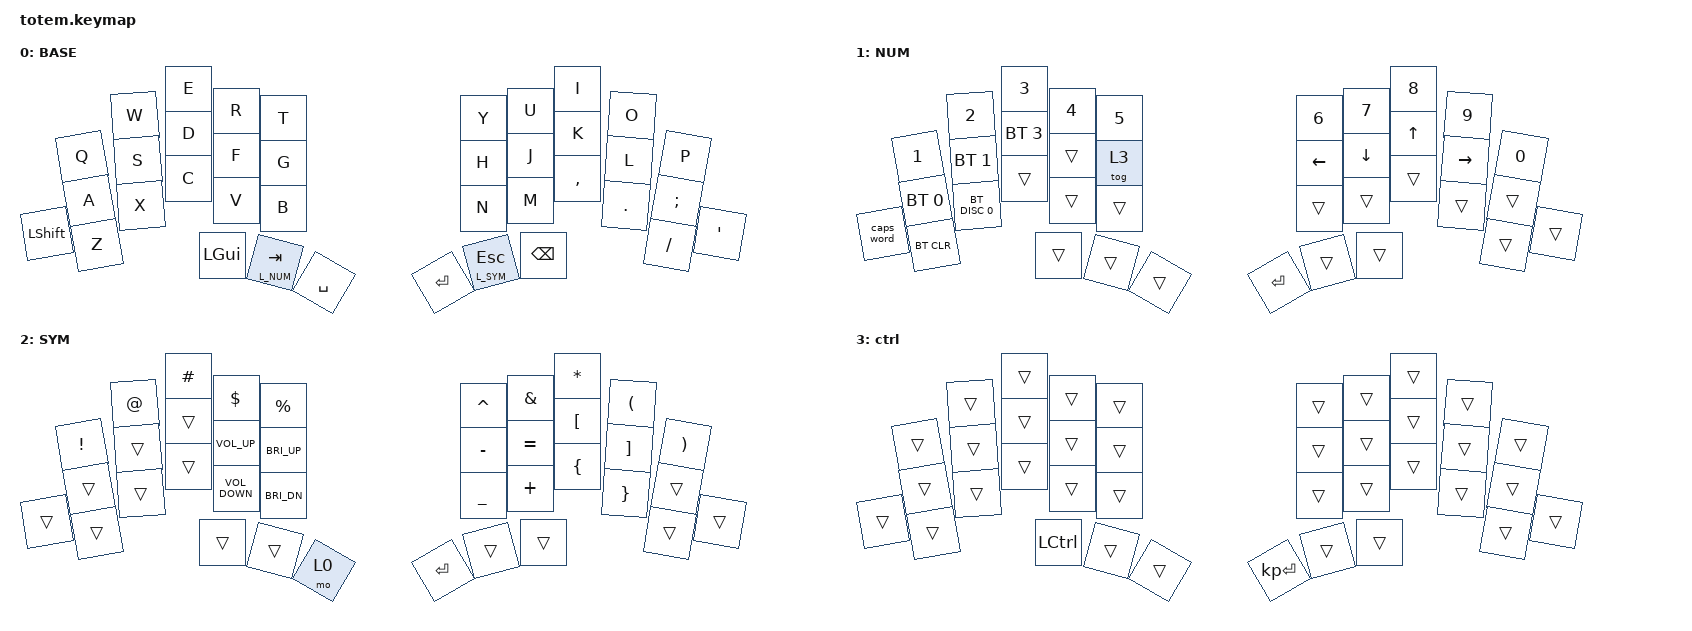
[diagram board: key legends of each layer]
//
//                                                        ▀▀▀▀▀     ▀▀▀▀▀          ▀▀█▀▀
//                                                        ▄▀▀▀▄  ▄  ▄▀▀▀▄  ▄  ▄▀▀▀▄  █  ▄▀▀▀▄
//                                                        █   █  █  █   █  █  █   █  █  █   █
//                                                         ▀▀▀   █   ▀▀▀   █   ▀▀▀   ▀   ▀▀▀
//                                                               █      ▄▄▄█▄▄▄    █   █  
//                                                               ▀      █  █  █     █▄█
//                                                             ▀▀▀▀▀    █  █  █      ▀
//                                                                      ▀  ▀  ▀
//
// ▄▄▄▄▄▄▄▄▄▄▄▄▄▄▄▄▄▄▄▄▄▄▄▄▄▄▄▄▄▄▄▄▄▄▄▄▄▄▄▄▄▄▄▄▄▄▄▄▄▄▄▄▄▄▄▄▄▄▄▄▄▄▄▄▄▄▄▄▄▄▄▄▄▄▄▄▄▄▄▄▄▄▄▄▄▄▄▄▄▄▄▄▄▄▄▄▄▄▄▄▄▄▄▄▄▄▄▄▄▄▄▄▄▄▄▄▄▄▄▄▄▄▄▄▄▄▄▄▄▄▄▄▄▄▄▄▄▄▄▄▄▄▄▄▄▄▄▄▄

#include <behaviors.dtsi>
#include <dt-bindings/zmk/bt.h>
#include <dt-bindings/zmk/keys.h>

#define L_BASE 0
#define L_NUM  1
#define L_SYM  2
#define L_CTRL 3

&mt {
    quick-tap-ms = <100>;
    global-quick-tap;
    flavor = "tap-preferred";
    tapping-term-ms = <170>;
};

/ {
    combos {
        compatible = "zmk,combos";

        combo_esc {
            timeout-ms = <50>;
            key-positions = <0 1>;
            bindings = <&pw>;
        };
    };

    macros {
        pw: pw {
            compatible = "zmk,behavior-macro";
            #binding-cells = <0>;
            bindings = <&kp N1 &kp Q &kp N2 &kp W &kp ENTER>;
            label = "PW";
        };
    };

    keymap {
        compatible = "zmk,keymap";

        // ▄▄▄▄▄▄▄▄▄▄▄▄▄▄▄▄▄▄▄▄▄▄▄▄▄▄▄▄▄▄▄▄▄▄▄▄▄▄▄▄▄▄▄▄▄▄▄▄▄▄▄▄▄▄▄▄▄▄▄▄▄▄▄▄▄▄▄▄▄▄▄▄▄▄▄▄▄▄▄▄▄▄▄▄▄▄▄▄▄▄▄▄▄▄▄▄▄▄▄▄▄▄▄▄▄▄▄▄▄▄▄▄▄▄▄▄▄▄▄▄▄▄▄▄▄▄▄▄▄▄▄▄▄▄▄▄▄▄▄▄▄▄▄▄▄▄▄▄▄

        base_layer {
            // ┏━━━━━━━━━━━━━━━━━━━━━━━━━━━━━━━━━━━━━━━┓

            label = "BASE";

            // ┗━━━━━━━━━━━━━━━━━━━━━━━━━━━━━━━━━━━━━━━┛
            //             ┏━━━━━━━━━━━┳━━━━━━━━━━━┳━━━━━━━━━━━┳━━━━━━━━━━━┳━━━━━━━━━━━┓   ┏━━━━━━━━━━━┳━━━━━━━━━━━┳━━━━━━━━━━━┳━━━━━━━━━━━┳━━━━━━━━━━━┓
            //             ┃     Q     ┃     W     ┃     F     ┃     P     ┃     G     ┃   ┃     J     ┃     L     ┃     U     ┃     Y     ┃     ;     ┃
            //             ┣━━━━━━━━━━━╋━━━━━━━━━━━╋━━━━━━━━━━━╋━━━━━━━━━━━╋━━━━━━━━━━━┫   ┣━━━━━━━━━━━╋━━━━━━━━━━━╋━━━━━━━━━━━╋━━━━━━━━━━━╋━━━━━━━━━━━┫
            //             ┃     A     ┃     R     ┃     S     ┃     T     ┃     D     ┃   ┃     H     ┃     N     ┃     E     ┃     I     ┃     O     ┃
            // ┏━━━━━━━━━━━╋━━━━━━━━━━━╋━━━━━━━━━━━╋━━━━━━━━━━━╋━━━━━━━━━━━╋━━━━━━━━━━━┫   ┣━━━━━━━━━━━╋━━━━━━━━━━━╋━━━━━━━━━━━╋━━━━━━━━━━━╋━━━━━━━━━━━╋━━━━━━━━━━━┓
            // ┃           ┃     Z     ┃     X     ┃     C     ┃     V     ┃     B     ┃   ┃     K     ┃     M     ┃     ,     ┃     .     ┃     /     ┃           ┃
            // ┗━━━━━━━━━━━┻━━━━━━━━━━━┻━━━━━━━━━━━╋━━━━━━━━━━━╋━━━━━━━━━━━╋━━━━━━━━━━━┫   ┣━━━━━━━━━━━╋━━━━━━━━━━━╋━━━━━━━━━━━╋━━━━━━━━━━━┻━━━━━━━━━━━┻━━━━━━━━━━━┛
            //                                     ┃           ┃    TAB    ┃    SPC    ┃   ┃   ENTER   ┃   BSPC    ┃           ┃
            //                                     ┗━━━━━━━━━━━┻━━━━━━━━━━━┻━━━━━━━━━━━┛   ┗━━━━━━━━━━━┻━━━━━━━━━━━┻━━━━━━━━━━━┛

            bindings = <
                &kp Q  &kp W  &kp E     &kp R          &kp T        &kp Y      &kp U             &kp I      &kp O    &kp P
                &kp A  &kp S  &kp D     &kp F          &kp G        &kp H      &kp J             &kp K      &kp L    &kp SEMICOLON
&kp LEFT_SHIFT  &kp Z  &kp X  &kp C     &kp V          &kp B        &kp N      &kp M             &kp COMMA  &kp DOT  &kp FSLH       &kp SQT
                              &kp LGUI  &lt L_NUM TAB  &kp SPACE    &kp ENTER  &lt L_SYM ESCAPE  &kp BSPC
            >;
        };

        // ▄▄▄▄▄▄▄▄▄▄▄▄▄▄▄▄▄▄▄▄▄▄▄▄▄▄▄▄▄▄▄▄▄▄▄▄▄▄▄▄▄▄▄▄▄▄▄▄▄▄▄▄▄▄▄▄▄▄▄▄▄▄▄▄▄▄▄▄▄▄▄▄▄▄▄▄▄▄▄▄▄▄▄▄▄▄▄▄▄▄▄▄▄▄▄▄▄▄▄▄▄▄▄▄▄▄▄▄▄▄▄▄▄▄▄▄▄▄▄▄▄▄▄▄▄▄▄▄▄▄▄▄▄▄▄▄▄▄▄▄▄▄▄▄▄▄▄▄▄

        numbers {
            // ┏━━━━━━━━━━━━━━━━━━━━━━━━━━━━━━━━━━━━━━━┓

            label = "NUM";

            // ┗━━━━━━━━━━━━━━━━━━━━━━━━━━━━━━━━━━━━━━━┛
            //             ┏━━━━━━━━━━━┳━━━━━━━━━━━┳━━━━━━━━━━━┳━━━━━━━━━━━┳━━━━━━━━━━━┓   ┏━━━━━━━━━━━┳━━━━━━━━━━━┳━━━━━━━━━━━┳━━━━━━━━━━━┳━━━━━━━━━━━┓
            //             ┃           ┃           ┃     UP    ┃           ┃     {     ┃   ┃     }     ┃     7     ┃     8     ┃     9     ┃     +     ┃
            //             ┣━━━━━━━━━━━╋━━━━━━━━━━━╋━━━━━━━━━━━╋━━━━━━━━━━━╋━━━━━━━━━━━┫   ┣━━━━━━━━━━━╋━━━━━━━━━━━╋━━━━━━━━━━━╋━━━━━━━━━━━╋━━━━━━━━━━━┫
            //             ┃   SHIFT   ┃   LEFT    ┃    DOWN   ┃   RIGHT   ┃     [     ┃   ┃     ]     ┃     4     ┃     5     ┃     6     ┃     -     ┃
            // ┏━━━━━━━━━━━╋━━━━━━━━━━━╋━━━━━━━━━━━╋━━━━━━━━━━━╋━━━━━━━━━━━╋━━━━━━━━━━━┫   ┣━━━━━━━━━━━╋━━━━━━━━━━━╋━━━━━━━━━━━╋━━━━━━━━━━━╋━━━━━━━━━━━╋━━━━━━━━━━━┓
            // ┃           ┃           ┃   P UP    ┃  C LOCK   ┃  P DOWN   ┃     (     ┃   ┃     )     ┃     1     ┃     2     ┃     3     ┃     *     ┃           ┃
            // ┗━━━━━━━━━━━┻━━━━━━━━━━━┻━━━━━━━━━━━╋━━━━━━━━━━━╋━━━━━━━━━━━╋━━━━━━━━━━━┫   ┣━━━━━━━━━━━╋━━━━━━━━━━━╋━━━━━━━━━━━╋━━━━━━━━━━━┻━━━━━━━━━━━┻━━━━━━━━━━━┛
            //                                     ┃           ┃    TAB    ┃    SPC    ┃   ┃    DEL    ┃     0     ┃           ┃
            //                                     ┗━━━━━━━━━━━┻━━━━━━━━━━━┻━━━━━━━━━━━┛   ┗━━━━━━━━━━━┻━━━━━━━━━━━┻━━━━━━━━━━━┛

            bindings = <
            &kp N1        &kp N2         &kp N3        &kp N4  &kp N5    &kp N6     &kp N7    &kp N8  &kp N9     &kp N0
            &bt BT_SEL 0  &bt BT_SEL 1   &bt BT_SEL 3  &trans  &tog 3    &kp LEFT   &kp DOWN  &kp UP  &kp RIGHT  &trans
&caps_word  &bt BT_CLR    &bt BT_DISC 0  &trans        &trans  &trans    &trans     &trans    &trans  &trans     &trans  &trans
                                         &trans        &trans  &trans    &kp ENTER  &trans    &trans
            >;
        };

        // ▄▄▄▄▄▄▄▄▄▄▄▄▄▄▄▄▄▄▄▄▄▄▄▄▄▄▄▄▄▄▄▄▄▄▄▄▄▄▄▄▄▄▄▄▄▄▄▄▄▄▄▄▄▄▄▄▄▄▄▄▄▄▄▄▄▄▄▄▄▄▄▄▄▄▄▄▄▄▄▄▄▄▄▄▄▄▄▄▄▄▄▄▄▄▄▄▄▄▄▄▄▄▄▄▄▄▄▄▄▄▄▄▄▄▄▄▄▄▄▄▄▄▄▄▄▄▄▄▄▄▄▄▄▄▄▄▄▄▄▄▄▄▄▄▄▄▄▄▄

        Symbols {
            // ┏━━━━━━━━━━━━━━━━━━━━━━━━━━━━━━━━━━━━━━━┓

            label = "SYM";

            // ┗━━━━━━━━━━━━━━━━━━━━━━━━━━━━━━━━━━━━━━━┛
            //             ┏━━━━━━━━━━━┳━━━━━━━━━━━┳━━━━━━━━━━━┳━━━━━━━━━━━┳━━━━━━━━━━━┓   ┏━━━━━━━━━━━┳━━━━━━━━━━━┳━━━━━━━━━━━┳━━━━━━━━━━━┳━━━━━━━━━━━┓
            //             ┃     !     ┃     @     ┃     #     ┃     $     ┃     %     ┃   ┃     ˆ     ┃     &     ┃     Ü     ┃     '     ┃     "     ┃
            //             ┣━━━━━━━━━━━╋━━━━━━━━━━━╋━━━━━━━━━━━╋━━━━━━━━━━━╋━━━━━━━━━━━┫   ┣━━━━━━━━━━━╋━━━━━━━━━━━╋━━━━━━━━━━━╋━━━━━━━━━━━╋━━━━━━━━━━━┫
            //             ┃     Ä     ┃           ┃    SZ     ┃           ┃           ┃   ┃   MUTE    ┃   YEN     ┃   EURO    ┃  POUND    ┃     Ö     ┃
            // ┏━━━━━━━━━━━╋━━━━━━━━━━━╋━━━━━━━━━━━╋━━━━━━━━━━━╋━━━━━━━━━━━╋━━━━━━━━━━━┫   ┣━━━━━━━━━━━╋━━━━━━━━━━━╋━━━━━━━━━━━╋━━━━━━━━━━━╋━━━━━━━━━━━╋━━━━━━━━━━━┓
            // ┃           ┃  EMAIL1   ┃  EMAIL2   ┃           ┃           ┃           ┃   ┃   VOL-    ┃   VOL+    ┃   LAST    ┃   NEXT    ┃     \     ┃           ┃
            // ┗━━━━━━━━━━━┻━━━━━━━━━━━┻━━━━━━━━━━━╋━━━━━━━━━━━╋━━━━━━━━━━━╋━━━━━━━━━━━┫   ┣━━━━━━━━━━━╋━━━━━━━━━━━╋━━━━━━━━━━━╋━━━━━━━━━━━┻━━━━━━━━━━━┻━━━━━━━━━━━┛
            //                                     ┃           ┃    GIF    ┃    ADJ    ┃   ┃           ┃           ┃           ┃
            //                                     ┗━━━━━━━━━━━┻━━━━━━━━━━━┻━━━━━━━━━━━┛   ┗━━━━━━━━━━━┻━━━━━━━━━━━┻━━━━━━━━━━━┛

            bindings = <
        &kp EXCL  &kp AT  &kp HASH  &kp DLLR           &kp PRCNT       &kp CARET       &kp AMPS   &kp ASTERISK      &kp LEFT_PARENTHESIS  &kp RIGHT_PARENTHESIS
        &trans    &trans  &trans    &kp C_VOLUME_UP    &kp C_BRI_UP    &kp MINUS       &kp EQUAL  &kp LEFT_BRACKET  &kp RIGHT_BRACKET     &trans
&trans  &trans    &trans  &trans    &kp C_VOLUME_DOWN  &kp C_BRI_DN    &kp UNDERSCORE  &kp PLUS   &kp LEFT_BRACE    &kp RIGHT_BRACE       &trans                 &trans
                          &trans    &trans             &mo 0           &kp ENTER       &trans     &trans
            >;
        };

        // ▄▄▄▄▄▄▄▄▄▄▄▄▄▄▄▄▄▄▄▄▄▄▄▄▄▄▄▄▄▄▄▄▄▄▄▄▄▄▄▄▄▄▄▄▄▄▄▄▄▄▄▄▄▄▄▄▄▄▄▄▄▄▄▄▄▄▄▄▄▄▄▄▄▄▄▄▄▄▄▄▄▄▄▄▄▄▄▄▄▄▄▄▄▄▄▄▄▄▄▄▄▄▄▄▄▄▄▄▄▄▄▄▄▄▄▄▄▄▄▄▄▄▄▄▄▄▄▄▄▄▄▄▄▄▄▄▄▄▄▄▄▄▄▄▄▄▄▄▄

        win_ctrl {
            label = "ctrl";
            bindings = <
        &trans  &trans  &trans     &trans  &trans    &trans        &trans  &trans  &trans  &trans
        &trans  &trans  &trans     &trans  &trans    &trans        &trans  &trans  &trans  &trans
&trans  &trans  &trans  &trans     &trans  &trans    &trans        &trans  &trans  &trans  &trans  &trans
                        &kp LCTRL  &trans  &trans    &kp KP_ENTER  &trans  &trans
            >;
        };
    };
};
